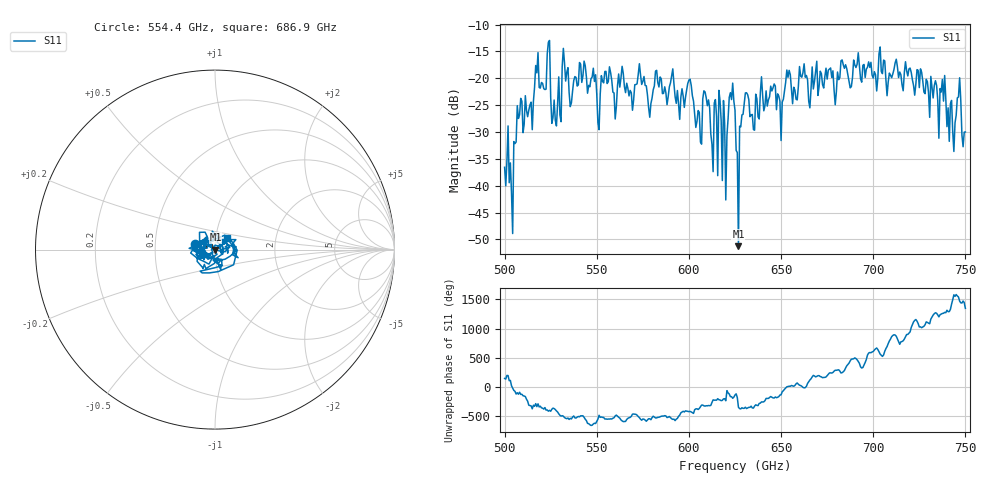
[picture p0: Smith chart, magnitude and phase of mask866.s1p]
!Created with skrf (http://scikit-rf.org).
# GHz S MA R 50.0
!freq magS11 angS11
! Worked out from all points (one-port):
!   401 points, 500 GHz to 750 GHz, reference 50 ohm
!   lowest |S11| = -51.3 dB at 626.9 GHz (marker M1), VSWR 1.01, Z = 50.3 + j0.03 ohm
!   |S11| at or under -10 dB: start of sweep to end of sweep
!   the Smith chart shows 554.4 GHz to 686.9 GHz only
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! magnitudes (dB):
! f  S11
! 500 GHz  -36.6
! 503.8 GHz  -41.4
! 508.1 GHz  -26.8
! 513.8 GHz  -25.0
! 517.5 GHz  -19.0
! 523.8 GHz  -13.3
! 526.9 GHz  -24.0
! 531.2 GHz  -17.8
! 541.9 GHz  -20.8
! 551.2 GHz  -29.6
! 562.5 GHz  -21.6
! 593.8 GHz  -22.3
! 600.6 GHz  -20.2
! 605.6 GHz  -26.3
! 609.4 GHz  -23.6
! 619.4 GHz  -28.3
! 623.1 GHz  -24.0
! 625 GHz  -25.9
! 626.9 GHz  -51.3
! 631.2 GHz  -22.7
! 634.4 GHz  -26.7
! 656.2 GHz  -24.7
! 687.5 GHz  -21.8
! 718.8 GHz  -19.6
! 737.5 GHz  -20.2
! 742.5 GHz  -24.1
! 746.2 GHz  -23.5
! 750 GHz  -30.0
